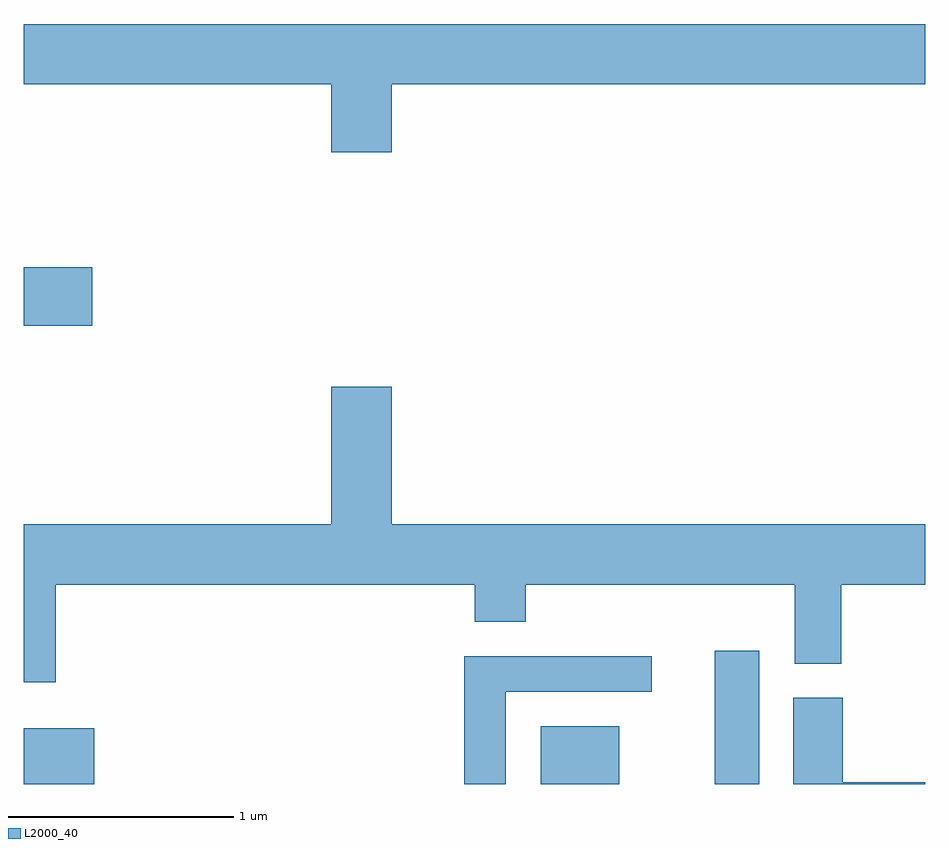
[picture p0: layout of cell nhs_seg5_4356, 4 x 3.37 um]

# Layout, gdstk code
import gdstk
lib = gdstk.Library(unit=1e-6, precision=1e-09)
def R(c, l, rs):  # rectangles x0, y0, x1, y1
    for r in rs: c.add(gdstk.rectangle(r[:2], r[2:], *l))
def P(c, l, *ps):  # polygons
    for p in ps: c.add(gdstk.Polygon(p, *l))
L2000_40 = (2000, 40)

nhs_seg5_4356 = lib.new_cell('nhs_seg5_4356')
R(nhs_seg5_4356, L2000_40, [(313.611,1518.072,313.924,1518.319), (315.906,1518.072,316.254,1518.329), (316.676,1518.072,316.874,1518.664), (313.611,1520.106,313.914,1520.364)])
P(nhs_seg5_4356, L2000_40, [(315.244,1521.176),(317.611,1521.176),(317.611,1521.444),(313.611,1521.444),(313.611,1521.176),(314.976,1521.176),(314.976,1520.876),(315.244,1520.876)],
  [(313.754,1518.956),(315.611,1518.956),(315.611,1518.791),(315.839,1518.791),(315.839,1518.956),(317.031,1518.956),(317.031,1518.606),(317.239,1518.606),(317.239,1518.956),(317.611,1518.956),(317.611,1519.224),(315.244,1519.224),(315.244,1519.834),(314.976,1519.834),(314.976,1519.224),(313.611,1519.224),(313.611,1518.523),(313.754,1518.523)],
  [(315.749,1518.481),(316.398,1518.481),(316.398,1518.639),(315.566,1518.639),(315.566,1518.072),(315.749,1518.072)],
  [(317.611,1518.079),(317.244,1518.079),(317.244,1518.454),(317.026,1518.454),(317.026,1518.072),(317.611,1518.072)])

lib.write_gds('nhs_seg5_4356.gds')
